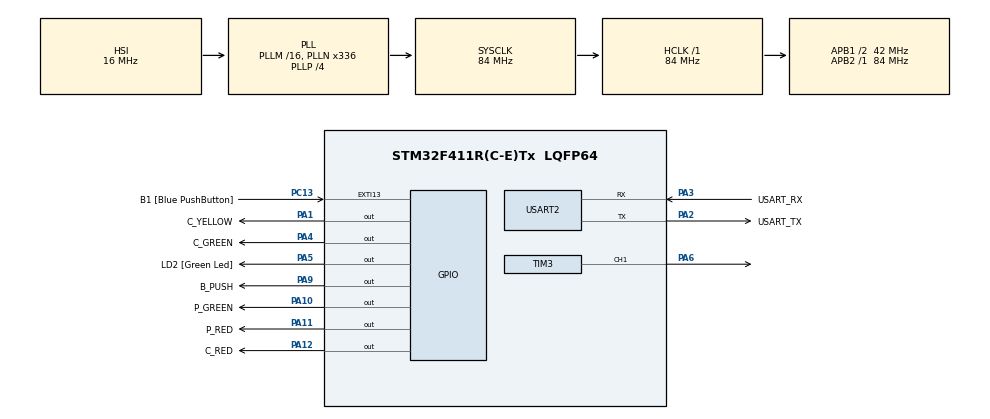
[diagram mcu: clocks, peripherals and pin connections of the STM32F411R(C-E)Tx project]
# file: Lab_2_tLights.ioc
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Mcu.Family=STM32F4
Mcu.Name=STM32F411R(C-E)Tx
Mcu.Package=LQFP64
NVIC.PriorityGroup=NVIC_PRIORITYGROUP_0
PA1.GPIO_Label=C_YELLOW
PA1.Signal=GPIO_Output
PA10.GPIO_Label=P_GREEN
PA10.Signal=GPIO_Output
PA11.GPIO_Label=P_RED
PA11.Signal=GPIO_Output
PA12.GPIO_Label=C_RED
PA12.Signal=GPIO_Output
PA13.GPIO_Label=TMS
PA13.Mode=Serial_Wire
PA13.Signal=SYS_JTMS-SWDIO
PA14.GPIO_Label=TCK
PA14.Mode=Serial_Wire
PA14.Signal=SYS_JTCK-SWCLK
PA2.GPIO_Label=USART_TX
PA2.Mode=Asynchronous
PA2.Signal=USART2_TX
PA3.GPIO_Label=USART_RX
PA3.Mode=Asynchronous
PA3.Signal=USART2_RX
PA4.GPIO_Label=C_GREEN
PA4.Signal=GPIO_Output
PA5.GPIO_Label=LD2 [Green Led]
PA5.Signal=GPIO_Output
PA6.Signal=S_TIM3_CH1
PA9.GPIO_Label=B_PUSH
PA9.Signal=GPIO_Output
PB3.GPIO_Label=SWO
PB3.Signal=SYS_JTDO-SWO
PC13-ANTI_TAMP.GPIO_Label=B1 [Blue PushButton]
PC13-ANTI_TAMP.GPIO_ModeDefaultEXTI=GPIO_MODE_IT_FALLING
PC13-ANTI_TAMP.Signal=GPXTI13
PC14-OSC32_IN.Mode=LSE-External-Oscillator
PC14-OSC32_IN.Signal=RCC_OSC32_IN
PC15-OSC32_OUT.Mode=LSE-External-Oscillator
PC15-OSC32_OUT.Signal=RCC_OSC32_OUT
PH0\ -\ OSC_IN.Mode=HSE-External-Clock-Source
PH0\ -\ OSC_IN.Signal=RCC_OSC_IN
PH1\ -\ OSC_OUT.Mode=HSE-External-Clock-Source
PH1\ -\ OSC_OUT.Signal=RCC_OSC_OUT
ProjectManager.HeapSize=0x200
ProjectManager.StackSize=0x400
ProjectManager.TargetToolchain=STM32CubeIDE
RCC.48MHZClocksFreq_Value=84000000
RCC.AHBFreq_Value=84000000
RCC.APB1CLKDivider=RCC_HCLK_DIV2
RCC.APB1Freq_Value=42000000
RCC.APB1TimFreq_Value=84000000
RCC.APB2Freq_Value=84000000
RCC.APB2TimFreq_Value=84000000
RCC.CortexFreq_Value=84000000
RCC.FLatency-AdvancedSettings=FLASH_LATENCY_2
RCC.HCLKFreq_Value=84000000
RCC.HSE_VALUE=8000000
RCC.HSI_VALUE=16000000
RCC.PLLN=336
RCC.PLLP=RCC_PLLP_DIV4
RCC.SYSCLKFreq_VALUE=84000000
RCC.SYSCLKSource=RCC_SYSCLKSOURCE_PLLCLK
RCC.VCOOutputFreq_Value=336000000
SH.S_TIM3_CH1.0=TIM3_CH1,PWM Generation1 CH1
TIM3.Channel-PWM\ Generation1\ CH1=TIM_CHANNEL_1
USART2.VirtualMode=VM_ASYNC
VP_TIM3_VS_ClockSourceINT.Mode=Internal
board=NUCLEO-F411RE

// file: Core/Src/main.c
/* USER CODE BEGIN Header */
/**
  ******************************************************************************
  * @file           : main.c
  * @brief          : Main program body
  ******************************************************************************
  * @attention
  *
  * Copyright (c) 2024 STMicroelectronics.
  * All rights reserved.
  *
  * This software is licensed under terms that can be found in the LICENSE file
  * in the root directory of this software component.
  * If no LICENSE file comes with this software, it is provided AS-IS.
  *
  ******************************************************************************
  */
/* USER CODE END Header */
#include "main.h"

/* USER CODE BEGIN PTD */
enum event
{
	ev_none = 0,
	ev_button_push,
	ev_state_timeout
};

enum state

{
	s_init,
	s_car_go,
	s_pushed_wait,
	s_cars_stopping,
	s_cars_stopped,
	s_go_people,
	s_stop_people,
	s_cars_wait
};

/* USER CODE END PTD */

/* USER CODE BEGIN PD */
void set_traffic_lights(enum state s);
int is_blue_button_pressed();
void push_button_light_on();
void push_button_light_off();
/* USER CODE END PD */

TIM_HandleTypeDef htim3;

UART_HandleTypeDef huart2;

void SystemClock_Config(void);
static void MX_GPIO_Init(void);
static void MX_USART2_UART_Init(void);
static void MX_TIM3_Init(void);

/* USER CODE BEGIN 0 */
void set_traffic_lights(enum state s)
{
	//turn of all lights¨
	HAL_GPIO_WritePin(C_RED_GPIO_Port, C_RED_Pin, GPIO_PIN_RESET);
	HAL_GPIO_WritePin(C_YELLOW_GPIO_Port,C_YELLOW_Pin , GPIO_PIN_RESET);
	HAL_GPIO_WritePin(C_GREEN_GPIO_Port,C_GREEN_Pin, GPIO_PIN_RESET);
	HAL_GPIO_WritePin(P_RED_GPIO_Port, P_RED_Pin, GPIO_PIN_RESET);
	HAL_GPIO_WritePin(P_GREEN_GPIO_Port, P_GREEN_Pin, GPIO_PIN_RESET);

	//Can be done much prettier!!!

	switch(s) {
	case s_init:
		HAL_GPIO_WritePin(C_RED_GPIO_Port, C_RED_Pin, GPIO_PIN_SET);
		HAL_GPIO_WritePin(C_YELLOW_GPIO_Port,C_YELLOW_Pin , GPIO_PIN_SET);
		HAL_GPIO_WritePin(C_GREEN_GPIO_Port,C_GREEN_Pin, GPIO_PIN_SET);
		HAL_GPIO_WritePin(P_RED_GPIO_Port, P_RED_Pin, GPIO_PIN_SET);
		HAL_GPIO_WritePin(P_GREEN_GPIO_Port, P_GREEN_Pin, GPIO_PIN_SET);
		break;

	case s_car_go:
		HAL_GPIO_WritePin(C_GREEN_GPIO_Port, C_GREEN_Pin, GPIO_PIN_SET);
		HAL_GPIO_WritePin(P_RED_GPIO_Port, P_RED_Pin, GPIO_PIN_SET);
		break;
	case s_pushed_wait:
		HAL_GPIO_WritePin(C_GREEN_GPIO_Port, C_GREEN_Pin, GPIO_PIN_SET);
		HAL_GPIO_WritePin(P_RED_GPIO_Port, P_RED_Pin, GPIO_PIN_SET);
		break;

	case s_cars_stopping:
		HAL_GPIO_WritePin(C_YELLOW_GPIO_Port, C_YELLOW_Pin, GPIO_PIN_SET);
		HAL_GPIO_WritePin(P_RED_GPIO_Port, P_RED_Pin, GPIO_PIN_SET);
		break;

	case s_cars_stopped:
		HAL_GPIO_WritePin(C_RED_GPIO_Port, C_RED_Pin, GPIO_PIN_SET);
		HAL_GPIO_WritePin(P_RED_GPIO_Port, P_RED_Pin, GPIO_PIN_SET);
		break;

	case s_go_people:
		HAL_GPIO_WritePin(C_RED_GPIO_Port, C_RED_Pin, GPIO_PIN_SET);
		HAL_GPIO_WritePin(P_GREEN_GPIO_Port, P_GREEN_Pin, GPIO_PIN_SET);
		break;

	case s_stop_people:
		HAL_GPIO_WritePin(C_RED_GPIO_Port, C_RED_Pin, GPIO_PIN_SET);
		HAL_GPIO_WritePin(P_RED_GPIO_Port, P_RED_Pin, GPIO_PIN_SET);
		break;

	case s_cars_wait:
		HAL_GPIO_WritePin(C_YELLOW_GPIO_Port, C_YELLOW_Pin, GPIO_PIN_SET);
		HAL_GPIO_WritePin(P_RED_GPIO_Port, P_RED_Pin, GPIO_PIN_SET);

	default:
		break;
		}
}

int is_blue_button_pressed()
{
	uint32_t reg_reading = GPIOC->IDR;
	uint16_t blue_button = 1 << 13;

	int bitValue = (reg_reading & blue_button) ? 1 : 0;
	if(bitValue)
	{
		return 0;
	}
	else
	{
		return 1;
	}

}

void push_button_light_on()
{
	HAL_GPIO_WritePin(B_PUSH_GPIO_Port, B_PUSH_Pin, GPIO_PIN_SET);
}

void push_button_light_off()
{
	HAL_GPIO_WritePin(B_PUSH_GPIO_Port, B_PUSH_Pin, GPIO_PIN_RESET);

}

/* USER CODE END 0 */

int main(void)
{

  /* MCU Configuration--------------------------------------------------------*/

  /* Reset of all peripherals, Initializes the Flash interface and the Systick. */
  HAL_Init();

  /* Configure the system clock */
  SystemClock_Config();

  /* Initialize all configured peripherals */
  MX_GPIO_Init();
  MX_USART2_UART_Init();
  MX_TIM3_Init();
  /* USER CODE BEGIN 2 */
  enum state st = s_init;
  enum event ev = ev_none;
  int curr_press = is_blue_button_pressed();
  int last_press = curr_press;
  uint32_t ticks_left_in_state;
  uint32_t curr_tick;
  uint32_t last_tick;
  /* USER CODE END 2 */

  /* Infinite loop */
  /* USER CODE BEGIN WHILE */
  while (1)
  {

	  //ev = ev_none;

	  curr_press = is_blue_button_pressed();
	  curr_tick = HAL_GetTick();

	  if (curr_press != last_press) {
		  ev 	= ev_button_push;
		  push_button_light_on();
	  } else if (ticks_left_in_state == 0) {
		  ev = ev_state_timeout;
	  } else if (curr_tick != last_tick) {
		  ticks_left_in_state--;
	  }

	  switch (st) {

	  	  case (s_init):
	  			if (ev ==ev_button_push) {
	  				ev 					= ev_none;
		  	  	  	st 					= s_cars_stopped;
		  	  	  	ticks_left_in_state	= 1000;
		  	  	  	push_button_light_off();
		  	  	  	set_traffic_lights(s_cars_stopped);
	  			  }
		  	  break;
	  	  case (s_cars_stopped):
	  			if (ev == ev_state_timeout) {
	  				ev 					= ev_none;
	  				st 					= s_go_people;
	  				ticks_left_in_state = 10000;
	  				push_button_light_off();
	  				set_traffic_lights(s_go_people);
	  			}
	  	  	  break;
	  	  case (s_go_people):
	  			  if (ev == ev_state_timeout) {
	  				  ev 					= ev_none;
	  				  st 					= s_stop_people;
	  				  ticks_left_in_state 	= 5000;
	  				  set_traffic_lights(s_stop_people);
	  			  }
	  	  	  break;

	  	  case (s_stop_people):
	  			  if (ev == ev_state_timeout) {
	  				  ev 					= ev_none;
	  				  st 					= s_cars_wait;
	  				  ticks_left_in_state 	= 2000;
	  				  set_traffic_lights(s_cars_wait);
	  			  }
	  	  	  break;

	  	  case (s_cars_wait):
	  			  if (ev == ev_state_timeout) {
	  				  ev = ev_none;
	  				  st = s_car_go;
	  				  //should run forever until button is pushed
	  				  set_traffic_lights(s_car_go);
	  			  }
	  	  	  break;

	  	  case (s_car_go):
	  			  if (ev == ev_button_push) {
	  				  ev 					= ev_none;
	  				  st 					= s_pushed_wait;
	  				  ticks_left_in_state 	= 2000;
	  				  set_traffic_lights(s_pushed_wait);
	  			  }
	  	  	  break;

	  	  case (s_pushed_wait):
	  			  if (ev == ev_state_timeout) {
	  				  ev 					= ev_none;
	  				  st 					= s_cars_stopping;
	  				  ticks_left_in_state 	= 1000;
	  				  set_traffic_lights(s_cars_stopping);
	  			  }
	  	  	  break;

	  	  case (s_cars_stopping):
	  			  if (ev == ev_state_timeout) {
	  				  ev 					= ev_none;
	  				  st 					= s_cars_stopped;
	  				  ticks_left_in_state 	= 1000;
	  				  set_traffic_lights(s_cars_stopped);
	  			  }
	  	  	  break;

	  	  default:
	  		  break;

	  }

    /* USER CODE END WHILE */

    /* USER CODE BEGIN 3 */

	  last_press = curr_press;
	  last_tick = HAL_GetTick();
  }
  /* USER CODE END 3 */
}

void SystemClock_Config(void)
{
  RCC_OscInitTypeDef RCC_OscInitStruct = {0};
  RCC_ClkInitTypeDef RCC_ClkInitStruct = {0};

  /** Configure the main internal regulator output voltage
  */
  __HAL_RCC_PWR_CLK_ENABLE();
  __HAL_PWR_VOLTAGESCALING_CONFIG(PWR_REGULATOR_VOLTAGE_SCALE1);

  /** Initializes the RCC Oscillators according to the specified parameters
  * in the RCC_OscInitTypeDef structure.
  */
  RCC_OscInitStruct.OscillatorType = RCC_OSCILLATORTYPE_HSI;
  RCC_OscInitStruct.HSIState = RCC_HSI_ON;
  RCC_OscInitStruct.HSICalibrationValue = RCC_HSICALIBRATION_DEFAULT;
  RCC_OscInitStruct.PLL.PLLState = RCC_PLL_ON;
  RCC_OscInitStruct.PLL.PLLSource = RCC_PLLSOURCE_HSI;
  RCC_OscInitStruct.PLL.PLLM = 16;
  RCC_OscInitStruct.PLL.PLLN = 336;
  RCC_OscInitStruct.PLL.PLLP = RCC_PLLP_DIV4;
  RCC_OscInitStruct.PLL.PLLQ = 4;
  if (HAL_RCC_OscConfig(&RCC_OscInitStruct) != HAL_OK)
  {
    Error_Handler();
  }

  /** Initializes the CPU, AHB and APB buses clocks
  */
  RCC_ClkInitStruct.ClockType = RCC_CLOCKTYPE_HCLK|RCC_CLOCKTYPE_SYSCLK
                              |RCC_CLOCKTYPE_PCLK1|RCC_CLOCKTYPE_PCLK2;
  RCC_ClkInitStruct.SYSCLKSource = RCC_SYSCLKSOURCE_PLLCLK;
  RCC_ClkInitStruct.AHBCLKDivider = RCC_SYSCLK_DIV1;
  RCC_ClkInitStruct.APB1CLKDivider = RCC_HCLK_DIV2;
  RCC_ClkInitStruct.APB2CLKDivider = RCC_HCLK_DIV1;

  if (HAL_RCC_ClockConfig(&RCC_ClkInitStruct, FLASH_LATENCY_2) != HAL_OK)
  {
    Error_Handler();
  }
}

static void MX_TIM3_Init(void)
{

  TIM_ClockConfigTypeDef sClockSourceConfig = {0};
  TIM_MasterConfigTypeDef sMasterConfig = {0};
  TIM_OC_InitTypeDef sConfigOC = {0};

  htim3.Instance = TIM3;
  htim3.Init.Prescaler = 0;
  htim3.Init.CounterMode = TIM_COUNTERMODE_UP;
  htim3.Init.Period = 65535;
  htim3.Init.ClockDivision = TIM_CLOCKDIVISION_DIV1;
  htim3.Init.AutoReloadPreload = TIM_AUTORELOAD_PRELOAD_DISABLE;
  if (HAL_TIM_Base_Init(&htim3) != HAL_OK)
  {
    Error_Handler();
  }
  sClockSourceConfig.ClockSource = TIM_CLOCKSOURCE_INTERNAL;
  if (HAL_TIM_ConfigClockSource(&htim3, &sClockSourceConfig) != HAL_OK)
  {
    Error_Handler();
  }
  if (HAL_TIM_PWM_Init(&htim3) != HAL_OK)
  {
    Error_Handler();
  }
  sMasterConfig.MasterOutputTrigger = TIM_TRGO_RESET;
  sMasterConfig.MasterSlaveMode = TIM_MASTERSLAVEMODE_DISABLE;
  if (HAL_TIMEx_MasterConfigSynchronization(&htim3, &sMasterConfig) != HAL_OK)
  {
    Error_Handler();
  }
  sConfigOC.OCMode = TIM_OCMODE_PWM1;
  sConfigOC.Pulse = 0;
  sConfigOC.OCPolarity = TIM_OCPOLARITY_HIGH;
  sConfigOC.OCFastMode = TIM_OCFAST_DISABLE;
  if (HAL_TIM_PWM_ConfigChannel(&htim3, &sConfigOC, TIM_CHANNEL_1) != HAL_OK)
  {
    Error_Handler();
  }
  HAL_TIM_MspPostInit(&htim3);

}

static void MX_USART2_UART_Init(void)
{

  huart2.Instance = USART2;
  huart2.Init.BaudRate = 115200;
  huart2.Init.WordLength = UART_WORDLENGTH_8B;
  huart2.Init.StopBits = UART_STOPBITS_1;
  huart2.Init.Parity = UART_PARITY_NONE;
  huart2.Init.Mode = UART_MODE_TX_RX;
  huart2.Init.HwFlowCtl = UART_HWCONTROL_NONE;
  huart2.Init.OverSampling = UART_OVERSAMPLING_16;
  if (HAL_UART_Init(&huart2) != HAL_OK)
  {
    Error_Handler();
  }

}

static void MX_GPIO_Init(void)
{
  GPIO_InitTypeDef GPIO_InitStruct = {0};

  /* GPIO Ports Clock Enable */
  __HAL_RCC_GPIOC_CLK_ENABLE();
  __HAL_RCC_GPIOH_CLK_ENABLE();
  __HAL_RCC_GPIOA_CLK_ENABLE();
  __HAL_RCC_GPIOB_CLK_ENABLE();

  /*Configure GPIO pin Output Level */
  HAL_GPIO_WritePin(GPIOA, C_YELLOW_Pin|C_GREEN_Pin|LD2_Pin|B_PUSH_Pin
                          |P_GREEN_Pin|P_RED_Pin|C_RED_Pin, GPIO_PIN_RESET);

  /*Configure GPIO pin : B1_Pin */
  GPIO_InitStruct.Pin = B1_Pin;
  GPIO_InitStruct.Mode = GPIO_MODE_IT_FALLING;
  GPIO_InitStruct.Pull = GPIO_NOPULL;
  HAL_GPIO_Init(B1_GPIO_Port, &GPIO_InitStruct);

  /*Configure GPIO pins : C_YELLOW_Pin C_GREEN_Pin LD2_Pin B_PUSH_Pin
                           P_GREEN_Pin P_RED_Pin C_RED_Pin */
  GPIO_InitStruct.Pin = C_YELLOW_Pin|C_GREEN_Pin|LD2_Pin|B_PUSH_Pin
                          |P_GREEN_Pin|P_RED_Pin|C_RED_Pin;
  GPIO_InitStruct.Mode = GPIO_MODE_OUTPUT_PP;
  GPIO_InitStruct.Pull = GPIO_NOPULL;
  GPIO_InitStruct.Speed = GPIO_SPEED_FREQ_LOW;
  HAL_GPIO_Init(GPIOA, &GPIO_InitStruct);

}

void Error_Handler(void)
{
  __disable_irq();
  while (1)
  {
  }
}
